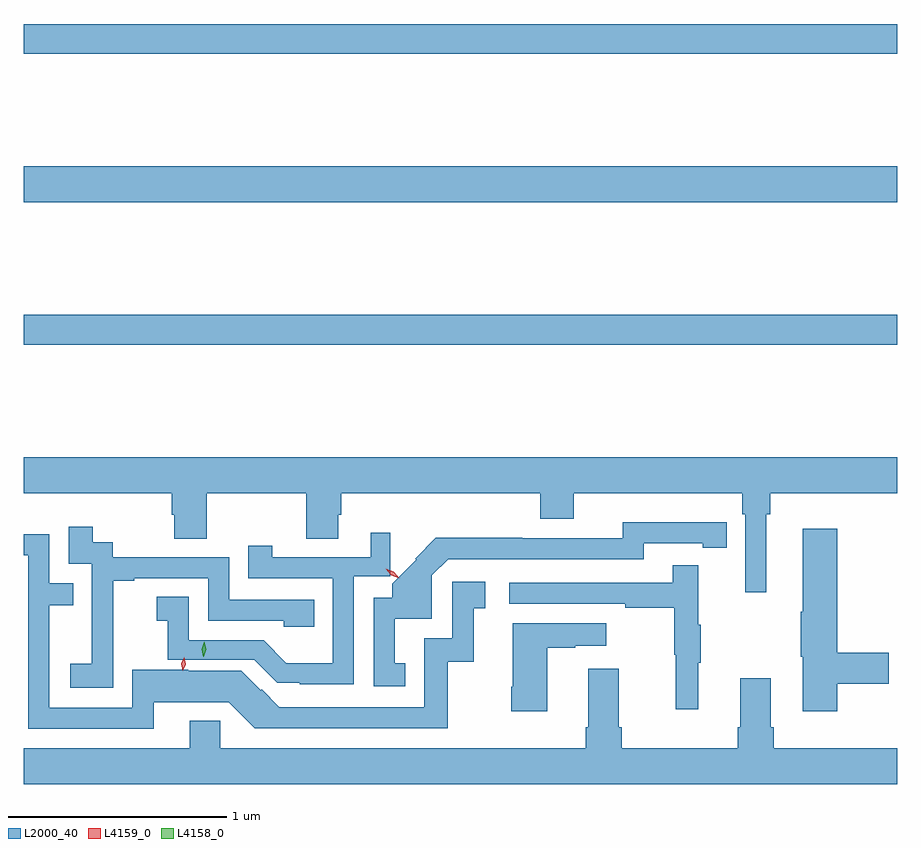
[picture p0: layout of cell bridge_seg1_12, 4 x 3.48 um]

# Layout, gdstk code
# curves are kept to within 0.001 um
import gdstk
lib = gdstk.Library(unit=1e-6, precision=1e-09)
def R(c, l, rs):  # rectangles x0, y0, x1, y1
    for r in rs: c.add(gdstk.rectangle(r[:2], r[2:], *l))
def P(c, l, *ps):  # polygons
    for p in ps: c.add(gdstk.Polygon(p, *l))
L2000_40 = (2000, 40)
L4158_0 = (4158, 0)
L4159_0 = (4159, 0)

bridge_seg1_12 = lib.new_cell('bridge_seg1_12')
R(bridge_seg1_12, L2000_40, [(841.314,512.452,845.314,512.588), (841.314,513.104,845.314,513.268), (841.314,513.784,845.314,513.92)])
P(bridge_seg1_12, L2000_40, [(841.314,511.772),(841.991,511.772),(841.991,511.674),(842.003,511.674),(842.003,511.564),(842.151,511.564),(842.151,511.772),(842.608,511.772),(842.608,511.564),(842.755,511.564),(842.755,511.674),(842.768,511.674),(842.768,511.772),(843.68,511.772),(843.68,511.655),(843.832,511.655),(843.832,511.772),(844.604,511.772),(844.604,511.676),(844.617,511.676),(844.617,511.317),(844.714,511.317),(844.714,511.676),(844.733,511.676),(844.733,511.772),(845.314,511.772),(845.314,511.936),(841.314,511.936)],
  [(843.062,510.993),(843.013,510.993),(843.013,511.197),(843.183,511.197),(843.183,511.395),(843.258,511.47),(844.152,511.47),(844.152,511.542),(844.424,511.542),(844.424,511.522),(844.532,511.522),(844.532,511.638),(844.056,511.639),(844.056,511.566),(843.596,511.566),(843.596,511.568),(843.201,511.568),(843.106,511.472),(843.112,511.466),(843.002,511.356),(843.002,511.293),(842.916,511.293),(842.916,510.888),(843.062,510.888)],
  [(841.725,511.087),(841.724,511.087),(841.724,511.371),(841.819,511.371),(841.819,511.383),(842.16,511.383),(842.16,511.188),(842.505,511.188),(842.505,511.161),(842.645,511.161),(842.645,511.284),(842.256,511.284),(842.256,511.479),(841.722,511.479),(841.722,511.548),(841.63,511.548),(841.63,511.618),(841.521,511.618),(841.521,511.449),(841.626,511.449),(841.626,511.22),(841.625,511.22),(841.625,510.991),(841.527,510.991),(841.527,510.881),(841.725,510.881)],
  [(845.039,510.898),(845.275,510.898),(845.275,511.04),(845.039,511.04),(845.039,511.609),(844.88,511.609),(844.88,511.229),(844.873,511.229),(844.873,511.023),(844.88,511.023),(844.88,510.774),(845.039,510.774)],
  [(842.826,511.391),(842.993,511.391),(842.993,511.591),(842.903,511.591),(842.903,511.479),(842.452,511.479),(842.452,511.531),(842.341,511.531),(842.341,511.383),(842.73,511.383),(842.73,510.994),(842.516,510.994),(842.412,511.098),(842.07,511.098),(842.07,511.297),(841.923,511.297),(841.923,511.187),(841.974,511.187),(841.974,511.01),(842.37,511.01),(842.476,510.903),(842.578,510.903),(842.578,510.897),(842.826,510.897)],
  [(841.909,510.815),(842.253,510.815),(842.372,510.696),(843.256,510.696),(843.256,510.999),(843.374,510.999),(843.374,511.245),(843.427,511.245),(843.427,511.366),(843.276,511.366),(843.276,511.107),(843.147,511.107),(843.147,510.792),(842.484,510.792),(842.403,510.873),(842.399,510.869),(842.311,510.958),(842.067,510.958),(842.067,510.964),(841.812,510.964),(841.812,510.789),(841.431,510.789),(841.431,511.258),(841.541,511.258),(841.541,511.359),(841.431,511.359),(841.431,511.584),(841.314,511.584),(841.314,511.488),(841.335,511.488),(841.335,510.693),(841.909,510.693)],
  [(844.403,510.995),(844.414,510.995),(844.414,511.169),(844.403,511.169),(844.403,511.441),(844.285,511.441),(844.285,511.362),(843.537,511.362),(843.537,511.266),(844.069,511.266),(844.069,511.246),(844.293,511.246),(844.293,511.032),(844.3,511.032),(844.3,510.783),(844.403,510.783)],
  [(843.712,511.063),(843.839,511.063),(843.839,511.073),(843.982,511.073),(843.982,511.177),(843.554,511.177),(843.554,510.886),(843.547,510.886),(843.547,510.774),(843.712,510.774)],
  [(845.314,510.604),(844.748,510.604),(844.748,510.7),(844.735,510.7),(844.735,510.925),(844.595,510.925),(844.595,510.7),(844.583,510.7),(844.583,510.604),(844.052,510.604),(844.052,510.7),(844.039,510.7),(844.039,510.967),(843.899,510.967),(843.899,510.7),(843.887,510.7),(843.887,510.604),(842.213,510.604),(842.213,510.73),(842.075,510.73),(842.075,510.604),(841.314,510.604),(841.314,510.44),(845.314,510.44)])
P(bridge_seg1_12, L4158_0, [(842.137,511.023),(842.137,511.023),(842.129,511.058),(842.141,511.092),(842.141,511.092),(842.141,511.092),(842.149,511.057),(842.138,511.023)])
P(bridge_seg1_12, L4159_0, [(843.034,511.381),(842.997,511.395),(842.971,511.425),(842.971,511.425),(842.972,511.425),(843.008,511.412),(843.034,511.381),(843.034,511.381)],
  [(842.042,510.958),(842.042,510.958),(842.036,510.99),(842.048,511.02),(842.049,511.02),(842.049,511.02),(842.056,510.988),(842.043,510.958)])

lib.write_gds('bridge_seg1_12.gds')
